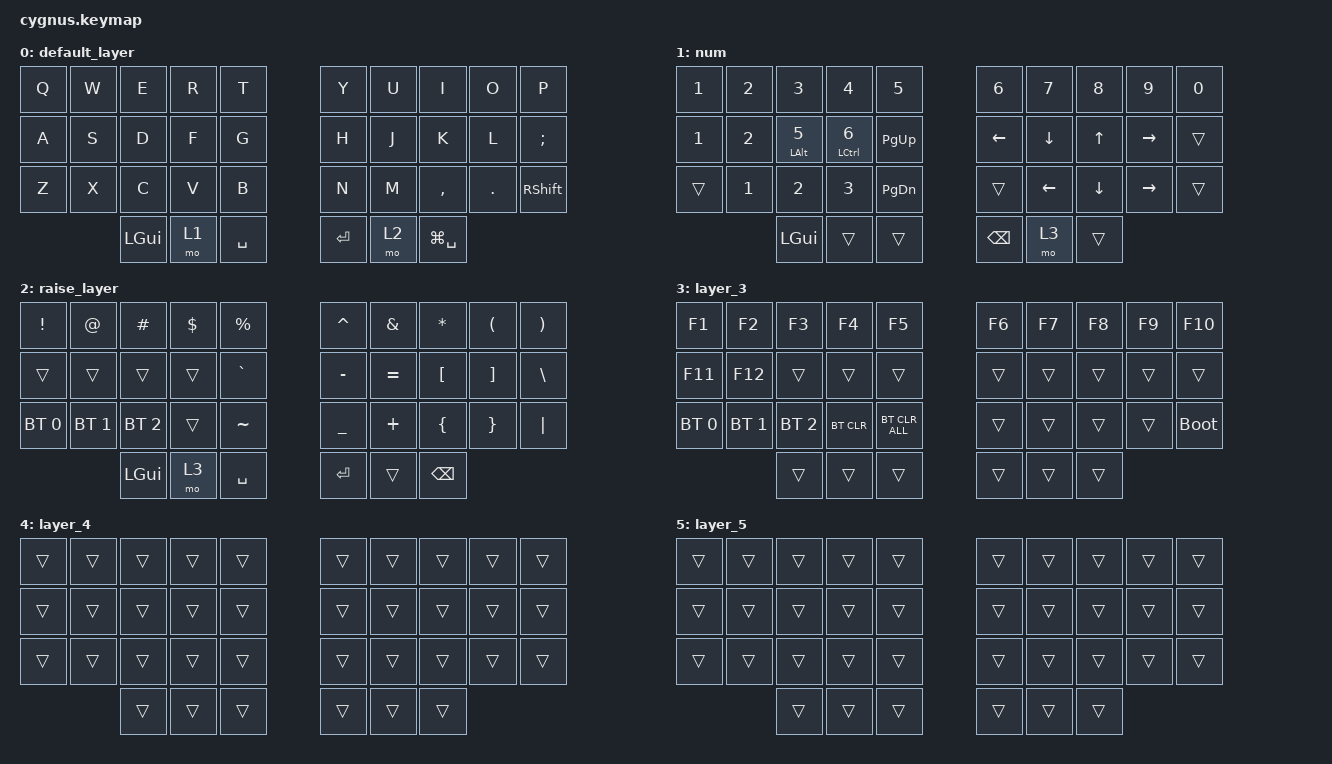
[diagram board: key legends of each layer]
#include <behaviors.dtsi>
#include <dt-bindings/zmk/bt.h>
#include <dt-bindings/zmk/keys.h>

/ {
    behaviors {
        hm: homerow_mods {
            compatible = "zmk,behavior-hold-tap";
            #binding-cells = <2>;
            tapping-term-ms = <180>;
            flavor = "tap-preferred";
            bindings = <&kp>, <&kp>;
        };
    };

    keymap {
        compatible = "zmk,keymap";

        default_layer {
            // -----------------------------------------------------------------------------------------
            // |  Q  |  W  |  E  |  R  |  T  |   |  Y  |  U   |  I  |  O  |  P  |
            // |  A  |  S  |  D  |  F  |  G  |   |  H  |  J   |  K  |  L  |  ;  |
            // |  Z  |  X  |  C  |  V  |  B  |   |  N  |  M   |  ,  |  .  |  /  |
            // | GUI | CTRL | SHFT | LWR | SPC |   | ENT | RSE  | BKSP | ALT | ESC |

            bindings = <
&kp Q  &kp W  &kp E     &kp R  &kp T      &kp Y    &kp U  &kp I          &kp O    &kp P
&kp A  &kp S  &kp D     &kp F  &kp G      &kp H    &kp J  &kp K          &kp L    &kp SEMICOLON
&kp Z  &kp X  &kp C     &kp V  &kp B      &kp N    &kp M  &kp COMMA      &kp DOT  &kp RIGHT_SHIFT
              &kp LGUI  &mo 1  &kp SPACE  &kp RET  &mo 2  &kp LG(SPACE)
            >;
        };

        num {
            // -----------------------------------------------------------------------------------------
            // |  TAB |  1  |  2  |  3  |  4  |  5  |   |  6  |  7  |  8  |  9  |  0  | BKSP |
            // | BTCLR| BT1 | BT2 | BT3 | BT4 | BT5 |   | LFT | DWN |  UP | RGT |     |      |
            // | SHFT |     |     |     |     |     |   |     |     |     |     |     |      |
            // | GUI | CTRL | SHFT | LWR | SPC |   | ENT | RSE  | BKSP | ALT | ESC |

            bindings = <
&kp N1        &kp N2        &kp N3       &kp N4        &kp N5         &kp N6         &kp N7    &kp N8    &kp N9     &kp N0
&kp NUMBER_1  &kp NUMBER_2  &hm LALT N5  &hm LCTRL N6  &kp PAGE_UP    &kp LEFT       &kp DOWN  &kp UP    &kp RIGHT  &trans
&trans        &kp N1        &kp N2       &kp N3        &kp PAGE_DOWN  &trans         &kp LEFT  &kp DOWN  &kp RIGHT  &trans
                            &kp LGUI     &trans        &trans         &kp BACKSPACE  &mo 3     &trans
            >;
        };

        raise_layer {
            // -----------------------------------------------------------------------------------------
            // |  TAB |  !  |  @  |  #  |  $  |  %  |   |  ^  |  &  |  *  |  (  |  )  | BKSP |
            // | CTRL |     |     |     |     |     |   |  -  |  =  |  [  |  ]  |  \  |  `   |
            // | SHFT |     |     |     |     |     |   |  _  |  +  |  {  |  }  | "|" |  ~   |
            //                    | GUI |     | SPC |   | ENT |     | ALT |

            bindings = <
&kp EXCL      &kp AT        &kp HASH      &kp DLLR  &kp PRCNT  &kp CARET  &kp AMPS   &kp ASTRK  &kp LPAR  &kp RPAR
&trans        &trans        &trans        &trans    &kp GRAVE  &kp MINUS  &kp EQUAL  &kp LBKT   &kp RBKT  &kp BSLH
&bt BT_SEL 0  &bt BT_SEL 1  &bt BT_SEL 2  &trans    &kp TILDE  &kp UNDER  &kp PLUS   &kp LBRC   &kp RBRC  &kp PIPE
                            &kp LGUI      &mo 3     &kp SPACE  &kp RET    &trans     &kp BSPC
            >;
        };

        layer_3 {
            bindings = <
&kp F1        &kp F2        &kp F3        &kp F4      &kp F5          &kp F6  &kp F7  &kp F8  &kp F9  &kp F10
&kp F11       &kp F12       &trans        &trans      &trans          &trans  &trans  &trans  &trans  &trans
&bt BT_SEL 0  &bt BT_SEL 1  &bt BT_SEL 2  &bt BT_CLR  &bt BT_CLR_ALL  &trans  &trans  &trans  &trans  &bootloader
                            &trans        &trans      &trans          &trans  &trans  &trans
            >;
        };

        layer_4 {
            bindings = <
&trans  &trans  &trans  &trans  &trans  &trans  &trans  &trans  &trans  &trans
&trans  &trans  &trans  &trans  &trans  &trans  &trans  &trans  &trans  &trans
&trans  &trans  &trans  &trans  &trans  &trans  &trans  &trans  &trans  &trans
                &trans  &trans  &trans  &trans  &trans  &trans
            >;
        };

        layer_5 {
            bindings = <
&trans  &trans  &trans  &trans  &trans  &trans  &trans  &trans  &trans  &trans
&trans  &trans  &trans  &trans  &trans  &trans  &trans  &trans  &trans  &trans
&trans  &trans  &trans  &trans  &trans  &trans  &trans  &trans  &trans  &trans
                &trans  &trans  &trans  &trans  &trans  &trans
            >;
        };
    };

    conditional_layers {
        compatible = "zmk,conditional-layers";

        l3 {
            if-layers = <1 2>;
            then-layer = <3>;
        };
    };
};
